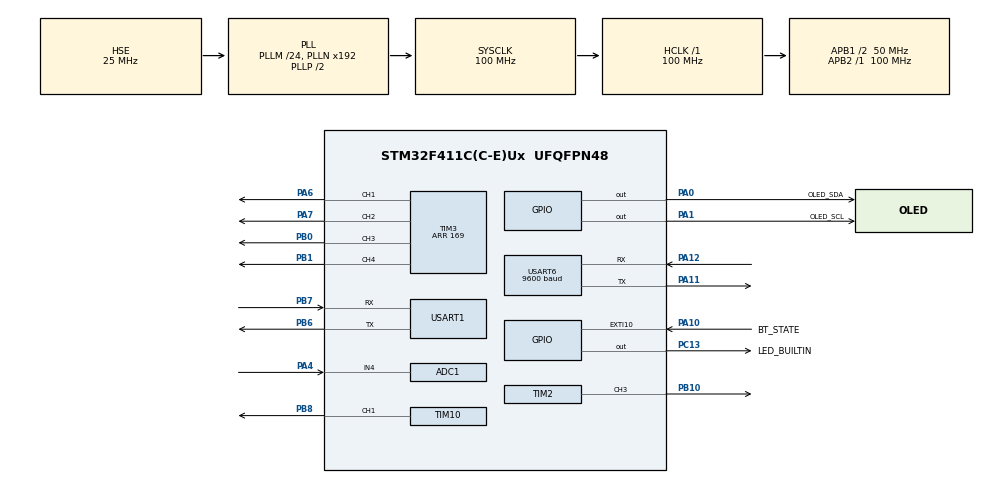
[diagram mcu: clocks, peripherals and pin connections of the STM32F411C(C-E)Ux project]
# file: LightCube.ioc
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ADC1.Channel-0\#ChannelRegularConversion=ADC_CHANNEL_4
ADC1.ContinuousConvMode=DISABLE
ADC1.DMAContinuousRequests=DISABLE
ADC1.DataAlign=ADC_DATAALIGN_RIGHT
ADC1.ExternalTrigConv=ADC_EXTERNALTRIGCONV_T4_CC4
ADC1.NbrOfConversion=1
ADC1.NbrOfConversionFlag=1
ADC1.Rank-0\#ChannelRegularConversion=1
ADC1.SamplingTime-0\#ChannelRegularConversion=ADC_SAMPLETIME_56CYCLES
ADC1.ScanConvMode=DISABLE
ADC1.master=1
Dma.ADC1.7.Direction=DMA_PERIPH_TO_MEMORY
Dma.ADC1.7.FIFOMode=DMA_FIFOMODE_DISABLE
Dma.ADC1.7.Instance=DMA2_Stream4
Dma.ADC1.7.MemDataAlignment=DMA_MDATAALIGN_WORD
Dma.ADC1.7.MemInc=DMA_MINC_ENABLE
Dma.ADC1.7.Mode=DMA_CIRCULAR
Dma.ADC1.7.PeriphDataAlignment=DMA_PDATAALIGN_WORD
Dma.ADC1.7.PeriphInc=DMA_PINC_DISABLE
Dma.ADC1.7.Priority=DMA_PRIORITY_MEDIUM
Dma.Request0=USART1_RX
Dma.Request1=USART6_RX
Dma.Request2=TIM2_CH3/UP
Dma.Request3=TIM3_CH1/TRIG
Dma.Request4=TIM3_CH2
Dma.Request5=TIM3_CH3
Dma.Request6=TIM3_CH4/UP
Dma.Request7=ADC1
Dma.TIM2_CH3/UP.2.Direction=DMA_MEMORY_TO_PERIPH
Dma.TIM2_CH3/UP.2.FIFOMode=DMA_FIFOMODE_DISABLE
Dma.TIM2_CH3/UP.2.Instance=DMA1_Stream1
Dma.TIM2_CH3/UP.2.MemDataAlignment=DMA_MDATAALIGN_WORD
Dma.TIM2_CH3/UP.2.MemInc=DMA_MINC_ENABLE
Dma.TIM2_CH3/UP.2.Mode=DMA_NORMAL
Dma.TIM2_CH3/UP.2.PeriphDataAlignment=DMA_PDATAALIGN_WORD
Dma.TIM2_CH3/UP.2.PeriphInc=DMA_PINC_DISABLE
Dma.TIM2_CH3/UP.2.Priority=DMA_PRIORITY_MEDIUM
Dma.TIM3_CH1/TRIG.3.Direction=DMA_MEMORY_TO_PERIPH
Dma.TIM3_CH1/TRIG.3.FIFOMode=DMA_FIFOMODE_DISABLE
Dma.TIM3_CH1/TRIG.3.Instance=DMA1_Stream4
Dma.TIM3_CH1/TRIG.3.MemDataAlignment=DMA_MDATAALIGN_WORD
Dma.TIM3_CH1/TRIG.3.MemInc=DMA_MINC_ENABLE
Dma.TIM3_CH1/TRIG.3.Mode=DMA_NORMAL
Dma.TIM3_CH1/TRIG.3.PeriphDataAlignment=DMA_PDATAALIGN_WORD
Dma.TIM3_CH1/TRIG.3.PeriphInc=DMA_PINC_DISABLE
Dma.TIM3_CH1/TRIG.3.Priority=DMA_PRIORITY_MEDIUM
Dma.TIM3_CH2.4.Direction=DMA_MEMORY_TO_PERIPH
Dma.TIM3_CH2.4.FIFOMode=DMA_FIFOMODE_DISABLE
Dma.TIM3_CH2.4.Instance=DMA1_Stream5
Dma.TIM3_CH2.4.MemDataAlignment=DMA_MDATAALIGN_WORD
Dma.TIM3_CH2.4.MemInc=DMA_MINC_ENABLE
Dma.TIM3_CH2.4.Mode=DMA_NORMAL
Dma.TIM3_CH2.4.PeriphDataAlignment=DMA_PDATAALIGN_WORD
Dma.TIM3_CH2.4.PeriphInc=DMA_PINC_DISABLE
Dma.TIM3_CH2.4.Priority=DMA_PRIORITY_MEDIUM
Dma.TIM3_CH3.5.Direction=DMA_MEMORY_TO_PERIPH
Dma.TIM3_CH3.5.FIFOMode=DMA_FIFOMODE_DISABLE
Dma.TIM3_CH3.5.Instance=DMA1_Stream7
Dma.TIM3_CH3.5.MemDataAlignment=DMA_MDATAALIGN_WORD
Dma.TIM3_CH3.5.MemInc=DMA_MINC_ENABLE
Dma.TIM3_CH3.5.Mode=DMA_NORMAL
Dma.TIM3_CH3.5.PeriphDataAlignment=DMA_PDATAALIGN_WORD
Dma.TIM3_CH3.5.PeriphInc=DMA_PINC_DISABLE
Dma.TIM3_CH3.5.Priority=DMA_PRIORITY_MEDIUM
Dma.TIM3_CH4/UP.6.Direction=DMA_MEMORY_TO_PERIPH
Dma.TIM3_CH4/UP.6.FIFOMode=DMA_FIFOMODE_DISABLE
Dma.TIM3_CH4/UP.6.Instance=DMA1_Stream2
Dma.TIM3_CH4/UP.6.MemDataAlignment=DMA_MDATAALIGN_WORD
Dma.TIM3_CH4/UP.6.MemInc=DMA_MINC_ENABLE
Dma.TIM3_CH4/UP.6.Mode=DMA_NORMAL
Dma.TIM3_CH4/UP.6.PeriphDataAlignment=DMA_PDATAALIGN_WORD
Dma.TIM3_CH4/UP.6.PeriphInc=DMA_PINC_DISABLE
Dma.TIM3_CH4/UP.6.Priority=DMA_PRIORITY_MEDIUM
Dma.USART1_RX.0.Direction=DMA_PERIPH_TO_MEMORY
Dma.USART1_RX.0.FIFOMode=DMA_FIFOMODE_DISABLE
Dma.USART1_RX.0.Instance=DMA2_Stream2
Dma.USART1_RX.0.MemDataAlignment=DMA_MDATAALIGN_BYTE
Dma.USART1_RX.0.MemInc=DMA_MINC_ENABLE
Dma.USART1_RX.0.Mode=DMA_CIRCULAR
Dma.USART1_RX.0.PeriphDataAlignment=DMA_PDATAALIGN_BYTE
Dma.USART1_RX.0.PeriphInc=DMA_PINC_DISABLE
Dma.USART1_RX.0.Priority=DMA_PRIORITY_LOW
Dma.USART6_RX.1.Direction=DMA_PERIPH_TO_MEMORY
Dma.USART6_RX.1.FIFOMode=DMA_FIFOMODE_DISABLE
Dma.USART6_RX.1.Instance=DMA2_Stream1
Dma.USART6_RX.1.MemDataAlignment=DMA_MDATAALIGN_BYTE
Dma.USART6_RX.1.MemInc=DMA_MINC_ENABLE
Dma.USART6_RX.1.Mode=DMA_CIRCULAR
Dma.USART6_RX.1.PeriphDataAlignment=DMA_PDATAALIGN_BYTE
Dma.USART6_RX.1.PeriphInc=DMA_PINC_DISABLE
Dma.USART6_RX.1.Priority=DMA_PRIORITY_LOW
Mcu.Family=STM32F4
Mcu.Name=STM32F411C(C-E)Ux
Mcu.Package=UFQFPN48
NVIC.ADC_IRQn=true\:0\:0\:false\:false\:true\:true\:true\:true
NVIC.DMA1_Stream1_IRQn=true\:0\:0\:false\:false\:true\:false\:true\:true
NVIC.DMA1_Stream2_IRQn=true\:0\:0\:false\:false\:true\:false\:true\:true
NVIC.DMA1_Stream4_IRQn=true\:0\:0\:false\:false\:true\:false\:true\:true
NVIC.DMA1_Stream5_IRQn=true\:0\:0\:false\:false\:true\:false\:true\:true
NVIC.DMA1_Stream7_IRQn=true\:0\:0\:false\:false\:true\:false\:true\:true
NVIC.DMA2_Stream1_IRQn=true\:0\:0\:false\:false\:true\:false\:true\:true
NVIC.DMA2_Stream2_IRQn=true\:0\:0\:false\:false\:true\:false\:true\:true
NVIC.DMA2_Stream4_IRQn=true\:0\:0\:false\:false\:true\:false\:true\:true
NVIC.EXTI15_10_IRQn=true\:0\:0\:false\:false\:true\:true\:true\:true
NVIC.PriorityGroup=NVIC_PRIORITYGROUP_4
NVIC.TIM2_IRQn=true\:0\:0\:false\:false\:true\:true\:true\:true
NVIC.TIM3_IRQn=true\:0\:0\:false\:false\:true\:true\:true\:true
NVIC.USART1_IRQn=true\:0\:0\:false\:false\:true\:true\:true\:true
NVIC.USART6_IRQn=true\:0\:0\:false\:false\:true\:true\:true\:true
PA0-WKUP.GPIO_Label=OLED_SDA
PA0-WKUP.GPIO_ModeDefaultOutputPP=GPIO_MODE_OUTPUT_OD
PA0-WKUP.GPIO_PuPd=GPIO_PULLUP
PA0-WKUP.GPIO_Speed=GPIO_SPEED_FREQ_VERY_HIGH
PA0-WKUP.PinState=GPIO_PIN_SET
PA0-WKUP.Signal=GPIO_Output
PA1.GPIO_Label=OLED_SCL
PA1.GPIO_Speed=GPIO_SPEED_FREQ_VERY_HIGH
PA1.PinState=GPIO_PIN_SET
PA1.Signal=GPIO_Output
PA10.GPIO_Label=BT_STATE
PA10.GPIO_ModeDefaultEXTI=GPIO_MODE_IT_RISING_FALLING
PA10.Signal=GPXTI10
PA11.Mode=Asynchronous
PA11.Signal=USART6_TX
PA12.Mode=Asynchronous
PA12.Signal=USART6_RX
PA13.Mode=Serial_Wire
PA13.Signal=SYS_JTMS-SWDIO
PA14.Mode=Serial_Wire
PA14.Signal=SYS_JTCK-SWCLK
PA4.Signal=ADCx_IN4
PA6.GPIO_PuPd=GPIO_PULLDOWN
PA6.GPIO_Speed=GPIO_SPEED_FREQ_VERY_HIGH
PA6.Signal=S_TIM3_CH1
PA7.GPIO_PuPd=GPIO_PULLDOWN
PA7.GPIO_Speed=GPIO_SPEED_FREQ_VERY_HIGH
PA7.Signal=S_TIM3_CH2
PB0.GPIO_PuPd=GPIO_PULLDOWN
PB0.GPIO_Speed=GPIO_SPEED_FREQ_VERY_HIGH
PB0.Signal=S_TIM3_CH3
PB1.GPIO_PuPd=GPIO_PULLDOWN
PB1.GPIO_Speed=GPIO_SPEED_FREQ_VERY_HIGH
PB1.Signal=S_TIM3_CH4
PB10.GPIO_PuPd=GPIO_PULLDOWN
PB10.GPIO_Speed=GPIO_SPEED_FREQ_VERY_HIGH
PB10.Signal=S_TIM2_CH3
PB6.Mode=Asynchronous
PB6.Signal=USART1_TX
PB7.Mode=Asynchronous
PB7.Signal=USART1_RX
PB8.GPIO_PuPd=GPIO_PULLDOWN
PB8.GPIO_Speed=GPIO_SPEED_FREQ_VERY_HIGH
PB8.Signal=S_TIM10_CH1
PC13-ANTI_TAMP.GPIO_Label=LED_BUILTIN
PC13-ANTI_TAMP.GPIO_Speed=GPIO_SPEED_FREQ_LOW
PC13-ANTI_TAMP.PinState=GPIO_PIN_SET
PC13-ANTI_TAMP.Signal=GPIO_Output
PC14-OSC32_IN.Mode=LSE-External-Oscillator
PC14-OSC32_IN.Signal=RCC_OSC32_IN
PC15-OSC32_OUT.Mode=LSE-External-Oscillator
PC15-OSC32_OUT.Signal=RCC_OSC32_OUT
PH0\ -\ OSC_IN.Mode=HSE-External-Oscillator
PH0\ -\ OSC_IN.Signal=RCC_OSC_IN
PH1\ -\ OSC_OUT.Mode=HSE-External-Oscillator
PH1\ -\ OSC_OUT.Signal=RCC_OSC_OUT
ProjectManager.HeapSize=0x200
ProjectManager.StackSize=0x400
ProjectManager.TargetToolchain=STM32CubeIDE
RCC.48MHZClocksFreq_Value=50000000
RCC.AHBFreq_Value=100000000
RCC.APB1CLKDivider=RCC_HCLK_DIV2
RCC.APB1Freq_Value=50000000
RCC.APB1TimFreq_Value=100000000
RCC.APB2Freq_Value=100000000
RCC.APB2TimFreq_Value=100000000
RCC.CortexFreq_Value=100000000
RCC.HCLKFreq_Value=100000000
RCC.HSE_VALUE=25000000
RCC.HSI_VALUE=16000000
RCC.PLLM=24
RCC.PLLSourceVirtual=RCC_PLLSOURCE_HSE
RCC.SYSCLKFreq_VALUE=100000000
RCC.SYSCLKSource=RCC_SYSCLKSOURCE_PLLCLK
RCC.VCOOutputFreq_Value=200000000
SH.ADCx_IN4.0=ADC1_IN4,IN4
SH.S_TIM10_CH1.0=TIM10_CH1,PWM Generation1 CH1
SH.S_TIM2_CH3.0=TIM2_CH3,PWM Generation3 CH3
SH.S_TIM3_CH1.0=TIM3_CH1,PWM Generation1 CH1
SH.S_TIM3_CH2.0=TIM3_CH2,PWM Generation2 CH2
SH.S_TIM3_CH3.0=TIM3_CH3,PWM Generation3 CH3
SH.S_TIM3_CH4.0=TIM3_CH4,PWM Generation4 CH4
TIM10.AutoReloadPreload=TIM_AUTORELOAD_PRELOAD_ENABLE
TIM10.Channel=TIM_CHANNEL_1
TIM10.Period=9999
TIM10.Prescaler=9
TIM2.Channel-PWM\ Generation3\ CH3=TIM_CHANNEL_3
TIM2.OCMode_PWM-PWM\ Generation3\ CH3=TIM_OCMODE_PWM1
TIM2.Period=169
TIM3.Channel-PWM\ Generation1\ CH1=TIM_CHANNEL_1
TIM3.Channel-PWM\ Generation2\ CH2=TIM_CHANNEL_2
TIM3.Channel-PWM\ Generation3\ CH3=TIM_CHANNEL_3
TIM3.Channel-PWM\ Generation4\ CH4=TIM_CHANNEL_4
TIM3.Period=169
TIM4.Channel-PWM\ Generation4\ No\ Output=TIM_CHANNEL_4
TIM4.Period=99
TIM4.Prescaler=99
TIM4.Pulse-PWM\ Generation4\ No\ Output=50
USART1.VirtualMode=VM_ASYNC
USART6.BaudRate=9600
USART6.VirtualMode=VM_ASYNC
VP_TIM10_VS_ClockSourceINT.Mode=Enable_Timer
VP_TIM2_VS_ClockSourceINT.Mode=Internal
VP_TIM3_VS_ClockSourceINT.Mode=Internal
VP_TIM4_VS_no_output4.Mode=PWM Generation4 No Output
board=custom

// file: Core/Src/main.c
/* USER CODE BEGIN Header */
/**
  ******************************************************************************
  * @file           : main.c
  * @brief          : Main program body
  ******************************************************************************
  * @attention
  *
  * Copyright (c) 2022 STMicroelectronics.
  * All rights reserved.
  *
  * This software is licensed under terms that can be found in the LICENSE file
  * in the root directory of this software component.
  * If no LICENSE file comes with this software, it is provided AS-IS.
  *
  ******************************************************************************
  */
/* USER CODE END Header */
#include "main.h"
#include "adc.h"
#include "dma.h"
#include "tim.h"
#include "usart.h"
#include "gpio.h"

/* USER CODE BEGIN Includes */
#include "../../User_Drivers/USART/retarget.h"
#include "../../User_Drivers/USART/uart_callback.h"
#include "../../User_Drivers/Delay/delay.h"
#include "../../User_Drivers/Bluetooth/bluetooth.h"
#include "../../User_Drivers/OLED/oled.h"
#include "../../User_Drivers/WS2812/ws2812.h"
#include "../../User_Drivers/WS2812/animation.h"
#include "../../User_Drivers/Utils/utils.h"
#include "../../User_Drivers/Snake/snake.h"
/* USER CODE END Includes */

/* USER CODE BEGIN PD */
#define DEFAULT_ANIM_TIMES 5
/* USER CODE END PD */

/* USER CODE BEGIN PV */
uint8_t btConnected = 0;
uint8_t btStateChanged = 0;
uint8_t timer60_count = 0; // will be used in SysTick_Handler() in f4xx_it.c
uint8_t timer60 = 0; // Triggered (be set to 1) every 60 ticks
uint8_t timer15_count = 0; // will be used in SysTick_Handler() in f4xx_it.c
uint8_t timer15 = 0; // Triggered (be set to 1) every 15 ticks
uint8_t timer5_count = 0;
uint8_t timer5 = 0; // Triggered (be set to 1) every 5 ticks
uint8_t currentMode = 0;
uint8_t modeChanged = 0;
uint8_t dotPos[3] = {1, 1, 1};
uint8_t pwmDuty = 0;
uint8_t brightness = 0;
/* USER CODE END PV */

void SystemClock_Config(void);

/* USER CODE BEGIN 0 */
void updateOLED(){
	if(modeChanged){
//		OLED_Clear();
		if(currentMode != 6 || currentMode != 8 || currentMode != 1 || currentMode != 9) OLED_printf(0,45,BIG_FONT,"                ");
		OLED_printf(28,0,BIG_FONT,"LightCube");
		if(btConnected) OLED_printf(120,0,BIG_FONT, "B");
		else OLED_printf(120,0,BIG_FONT, " ");
		switch(currentMode){
		case 0:
			OLED_printf(0,25,BIG_FONT,"                ");
			break;
		case 1:
			OLED_printf(0,25,BIG_FONT,"Mode: Single    ");
			OLED_printf(0,45,BIG_FONT,"Bright.: %d%%",brightness);
			break;
		case 2:
			OLED_printf(0,25,BIG_FONT,"Mode: All       ");
			break;
		case 3:
			OLED_printf(0,25,BIG_FONT,"Mode: Breathe   ");
			break;
		case 4:
			OLED_printf(0,25,BIG_FONT,"Mode: Gradient  ");
			break;
		case 5:
			OLED_printf(0,25,BIG_FONT,"Mode: Number    ");
			break;
		case 6:
			OLED_printf(0,25,BIG_FONT,"Mode: Dot       ");
			OLED_printf(0,45,BIG_FONT,"(%d, %d, %d)",dotPos[0],dotPos[1],dotPos[2]);
			break;
		case 7:
			OLED_printf(0,25,BIG_FONT,"Mode: Animation ");
			break;
		case 8:
			OLED_printf(0,25,BIG_FONT,"Mode: PWM Output"); // 1KHz
			OLED_printf(0,45,BIG_FONT,"Duty: %d%% @1KHz",pwmDuty);
			break;
		case 9:
			OLED_printf(0,25,BIG_FONT,"Mode: PWM Wave  "); // 1KHz
			OLED_printf(0,45,BIG_FONT,"Duty: Dynamic",pwmDuty);
			break;
		case 10:
			OLED_printf(0,25,BIG_FONT,"Mode: Snake Game");
			break;
		default: break;
		}
		OLED_RefreshGram();
		modeChanged = 0;
	}
	if(btStateChanged){
		if(btConnected) OLED_printf(120,0,BIG_FONT, "B");
		else OLED_printf(120,0,BIG_FONT, " ");
		OLED_RefreshGram();
		btStateChanged = 0;
	}
}
/* USER CODE END 0 */

int main(void)
{
  /* USER CODE BEGIN 1 */
//  uint16_t UART1_COMMAND_BUF[200] = {0};
//  uint8_t UART1_COMMAND_LEN = 0;
  uint16_t UART6_COMMAND_BUF[200] = {0};
  uint8_t UART6_COMMAND_LEN = 0;
  uint16_t DMA_ADC_BUF = 0; // Microphone ADC
  uint8_t dotRGB[3] = {255, 255, 255};
  uint16_t dotGradientTemp = 1;
  uint8_t dotShown = 0;
  /* USER CODE END 1 */

  /* MCU Configuration--------------------------------------------------------*/

  /* Reset of all peripherals, Initializes the Flash interface and the Systick. */
  HAL_Init();

  /* Configure the system clock */
  SystemClock_Config();

  /* Initialize all configured peripherals */
  MX_GPIO_Init();
  MX_DMA_Init();
  MX_TIM2_Init();
  MX_TIM3_Init();
  MX_USART1_UART_Init();
  MX_USART6_UART_Init();
  MX_ADC1_Init();
  MX_TIM4_Init();
  MX_TIM10_Init();
  /* USER CODE BEGIN 2 */
  UART_RetargetInit(&huart1);
  UART1_SetCallback();
  UART6_SetCallback();
  OLED_Init();
  OLED_printf(28,0,BIG_FONT,"LightCube");
  OLED_RefreshGram();
  LED_Update();
//  HAL_ADC_Start_DMA(&hadc1, (uint32_t*)&DMA_ADC_BUF, 1);
  HAL_TIM_PWM_Start(&htim10, TIM_CHANNEL_1);
  __HAL_TIM_SET_COMPARE(&htim10, TIM_CHANNEL_1, pwmDuty * 100);
//  LED_Anim_Countdown(1);
  if(!HAL_GPIO_ReadPin(BT_STATE_GPIO_Port, BT_STATE_Pin)){
	  btStateChanged = 1;
	  btConnected = 1;
  }
  /* USER CODE END 2 */

  /* Infinite loop */
  /* USER CODE BEGIN WHILE */
  while (1)
  {
	updateOLED();
	if(timer15){
		if(dotShown){
			if(dotGradientTemp>=359) dotGradientTemp = 1;
			else dotGradientTemp++;
			dotRGB[0] = gradientR[dotGradientTemp];
			dotRGB[1] = gradientG[dotGradientTemp];
			dotRGB[2] = gradientB[dotGradientTemp];
			LED_SetColor(dotPos[0],dotPos[1],dotPos[2],dotRGB[0],dotRGB[1],dotRGB[2]);
			LED_Update();
	//		hsv_to_rgb(dotGradientTemp, 100, 100, &dotRGB[0], &dotRGB[1], &dotRGB[2]);
		}
		timer15 = 0;
	}
	if(timer5){
		if(timer_game_count == GAME_SPEED/5 - 1){
			timer_game_count = 0;
			timer_game = 1;
		}else timer_game_count++;
		if(currentMode == 9){
//			modeChanged = 1;
			if(pwmDuty>99) pwmDuty = 0;
			else pwmDuty++;
//			updateOLED();
			__HAL_TIM_SET_COMPARE(&htim10, TIM_CHANNEL_1, pwmDuty * 100);
		}
		timer5 = 0;
	}
	if(timer_game){
		if(currentMode == 10) {
			snakeUpdate();
			if(snake_game_state != 1) {
				currentMode = 0;
				modeChanged = 1;
				snake_dir_control = 0;
				snakeDelete();
			}
		}
		timer_game = 0;
	}
	if(UART6_Available()){
		switch(UART6_Read(0)){
		case 'w':
			splitData(UART6_GetBufferPtr(), UART6_ReceivedLength(), UART6_COMMAND_BUF, &UART6_COMMAND_LEN, ' ');
			switch(UART6_COMMAND_LEN){
			case 0:
				currentMode = 9;
				modeChanged = 1;
				pwmDuty = 0;
				BT_printf("Set PWM output at 0-100%% wave\n");
				updateOLED();
				__HAL_TIM_SET_COMPARE(&htim10, TIM_CHANNEL_1, pwmDuty * 100);
				break;
			case 1:
				currentMode = 8;
				modeChanged = 1;
				pwmDuty = UART6_COMMAND_BUF[0];
				if(pwmDuty>100) pwmDuty = 100;
				BT_printf("Set PWM output at %d %% duty\n", pwmDuty);
				updateOLED();
				__HAL_TIM_SET_COMPARE(&htim10, TIM_CHANNEL_1, pwmDuty * 100);
				break;
			default: BT_printf("Wrong arguments!\n"); break;
			}
			break;
		case 'c':
			splitData(UART6_GetBufferPtr(), UART6_ReceivedLength(), UART6_COMMAND_BUF, &UART6_COMMAND_LEN, ' ');
			switch(UART6_COMMAND_LEN){
			case 3:
				modeChanged = 1;
				currentMode = 1;
				BT_printf("Set LED (%d, %d, %d) to WHITE at 100 %% Brightness\n", UART6_COMMAND_BUF[0],UART6_COMMAND_BUF[1],UART6_COMMAND_BUF[2]);
				brightness = 100;
				updateOLED();
				LED_SetColor(UART6_COMMAND_BUF[0],UART6_COMMAND_BUF[1],UART6_COMMAND_BUF[2],255,255,255);
				LED_Update();
				break;
			case 4:
				modeChanged = 1;
				currentMode = 1;
				BT_printf("Set LED (%d, %d, %d) to WHITE at %d %% Brightness\n", UART6_COMMAND_BUF[0],UART6_COMMAND_BUF[1],UART6_COMMAND_BUF[2],UART6_COMMAND_BUF[3]);
				brightness = UART6_COMMAND_BUF[3];
				uint8_t tempR,tempG,tempB;
				getRGBWithBrightness(255,255,255,brightness,&tempR,&tempG,&tempB);
				updateOLED();
				LED_SetColor(UART6_COMMAND_BUF[0],UART6_COMMAND_BUF[1],UART6_COMMAND_BUF[2],tempR,tempG,tempB);
				LED_Update();
				break;
			case 6:
				modeChanged = 1;
				currentMode = 1;
				BT_printf("Set LED (%d, %d, %d) to (%d, %d, %d)\n", UART6_COMMAND_BUF[0],UART6_COMMAND_BUF[1],UART6_COMMAND_BUF[2],UART6_COMMAND_BUF[3],UART6_COMMAND_BUF[4],UART6_COMMAND_BUF[5]);
				updateOLED();
				LED_SetColor(UART6_COMMAND_BUF[0],UART6_COMMAND_BUF[1],UART6_COMMAND_BUF[2],UART6_COMMAND_BUF[3],UART6_COMMAND_BUF[4],UART6_COMMAND_BUF[5]);
				LED_Update();
				break;
			default: BT_printf("Wrong arguments!\n"); break;
			}
			break;
		case 'r':
			pwmDuty = 0;
			__HAL_TIM_SET_COMPARE(&htim10, TIM_CHANNEL_1, pwmDuty * 100);
			dotShown = 0;
			currentMode = 0;
			modeChanged = 1;
			BT_printf("Resetting all LEDs...\n");
			updateOLED();
//			LED_SetBrightness(DEFAULT_BRIGHTNESS);
			LED_ResetAll();
			snakeDelete();
			LED_Update();
			break;
		case 'a':
			splitData(UART6_GetBufferPtr(), UART6_ReceivedLength(), UART6_COMMAND_BUF, &UART6_COMMAND_LEN, ' ');
			switch(UART6_COMMAND_LEN){
			case 3:
				currentMode = 2;
				modeChanged = 1;
				BT_printf("Set all LED to (%d, %d, %d)\n", UART6_COMMAND_BUF[0],UART6_COMMAND_BUF[1],UART6_COMMAND_BUF[2]);
				updateOLED();
				LED_SetColorAll(UART6_COMMAND_BUF[0],UART6_COMMAND_BUF[1],UART6_COMMAND_BUF[2]);
				LED_Update();
				break;
			default: BT_printf("Wrong arguments!\n"); break;
			}
			break;
		case 'b':
			splitData(UART6_GetBufferPtr(), UART6_ReceivedLength(), UART6_COMMAND_BUF, &UART6_COMMAND_LEN, ' ');
			switch(UART6_COMMAND_LEN){
			case 3:
				currentMode = 3;
				modeChanged = 1;
				BT_printf("Breathing LED (%d, %d, %d)...\n", UART6_COMMAND_BUF[0],UART6_COMMAND_BUF[1],UART6_COMMAND_BUF[2]);
				updateOLED();
				LED_BreatheOnePixel(UART6_COMMAND_BUF[0],UART6_COMMAND_BUF[1],UART6_COMMAND_BUF[2],350,25,1);
				currentMode = 0;
				modeChanged = 1;
				updateOLED();
				break;
			case 5:
				currentMode = 3;
				modeChanged = 1;
				BT_printf("Breathing LED (%d, %d, %d) with H: %d, S: %d...\n", UART6_COMMAND_BUF[0],UART6_COMMAND_BUF[1],UART6_COMMAND_BUF[2],UART6_COMMAND_BUF[3],UART6_COMMAND_BUF[4]);
				updateOLED();
				LED_BreatheOnePixel(UART6_COMMAND_BUF[0],UART6_COMMAND_BUF[1],UART6_COMMAND_BUF[2],UART6_COMMAND_BUF[3],UART6_COMMAND_BUF[4],1);
				currentMode = 0;
				modeChanged = 1;
				updateOLED();
				break;
			case 6:
				currentMode = 3;
				modeChanged = 1;
				BT_printf("Breathing LED (%d, %d, %d) with H: %d, S: %d for %d time(s)...\n", UART6_COMMAND_BUF[0],UART6_COMMAND_BUF[1],UART6_COMMAND_BUF[2],UART6_COMMAND_BUF[3],UART6_COMMAND_BUF[4],UART6_COMMAND_BUF[5]);
				updateOLED();
				LED_BreatheOnePixel(UART6_COMMAND_BUF[0],UART6_COMMAND_BUF[1],UART6_COMMAND_BUF[2],UART6_COMMAND_BUF[3],UART6_COMMAND_BUF[4],UART6_COMMAND_BUF[5]);
				currentMode = 0;
				modeChanged = 1;
				updateOLED();
				break;
			case 9:
				currentMode = 3;
				modeChanged = 1;
				BT_printf("Breathing LEDs from (%d, %d, %d) to (%d, %d, %d) with H: %d, S: %d for %d time(s)...\n", UART6_COMMAND_BUF[0],UART6_COMMAND_BUF[1],UART6_COMMAND_BUF[2],UART6_COMMAND_BUF[3],UART6_COMMAND_BUF[4],UART6_COMMAND_BUF[5],UART6_COMMAND_BUF[6],UART6_COMMAND_BUF[7],UART6_COMMAND_BUF[8]);
				updateOLED();
				LED_BreatheBatch(UART6_COMMAND_BUF[0],UART6_COMMAND_BUF[1],UART6_COMMAND_BUF[2],UART6_COMMAND_BUF[3],UART6_COMMAND_BUF[4],UART6_COMMAND_BUF[5],UART6_COMMAND_BUF[6],UART6_COMMAND_BUF[7],UART6_COMMAND_BUF[8]);
				currentMode = 0;
				modeChanged = 1;
				updateOLED();
				break;
			default: BT_printf("Wrong arguments!\n"); break;
			}
			break;
		case 'g':
			splitData(UART6_GetBufferPtr(), UART6_ReceivedLength(), UART6_COMMAND_BUF, &UART6_COMMAND_LEN, ' ');
			switch(UART6_COMMAND_LEN){
			case 3:
				currentMode = 4;
				modeChanged = 1;
				BT_printf("Gradient LED (%d, %d, %d)...\n", UART6_COMMAND_BUF[0],UART6_COMMAND_BUF[1],UART6_COMMAND_BUF[2]);
				updateOLED();
				LED_GradientOnePixel(UART6_COMMAND_BUF[0],UART6_COMMAND_BUF[1],UART6_COMMAND_BUF[2]);
				currentMode = 0;
				modeChanged = 1;
				updateOLED();
				break;
			case 6:
				currentMode = 4;
				modeChanged = 1;
				BT_printf("Gradient LEDs from (%d, %d, %d) to (%d, %d, %d)...\n", UART6_COMMAND_BUF[0],UART6_COMMAND_BUF[1],UART6_COMMAND_BUF[2],UART6_COMMAND_BUF[3],UART6_COMMAND_BUF[4],UART6_COMMAND_BUF[5]);
				updateOLED();
				LED_GradientBatch(UART6_COMMAND_BUF[0],UART6_COMMAND_BUF[1],UART6_COMMAND_BUF[2],UART6_COMMAND_BUF[3],UART6_COMMAND_BUF[4],UART6_COMMAND_BUF[5]);
				currentMode = 0;
				modeChanged = 1;
				updateOLED();
				break;
			default: BT_printf("Wrong arguments!\n"); break;
			}
			break;
		case 'n':
			splitData(UART6_GetBufferPtr(), UART6_ReceivedLength(), UART6_COMMAND_BUF, &UART6_COMMAND_LEN, ' ');
			LED_ResetAll();
			switch(UART6_COMMAND_LEN){
			case 3:
				currentMode = 5;
				modeChanged = 1;
				BT_printf("Presenting number %d at #%d face, #%d layer\n", UART6_COMMAND_BUF[0], UART6_COMMAND_BUF[1], UART6_COMMAND_BUF[2]);
				updateOLED();
				LED_Anim_ShowNumber(UART6_COMMAND_BUF[0], UART6_COMMAND_BUF[1], UART6_COMMAND_BUF[2], COLOR_WHITE);
				currentMode = 0;
				modeChanged = 1;
				updateOLED();
				break;
			default: BT_printf("Wrong arguments!\n"); break;
			}
			break;
		case 'W':
			if(currentMode == 10) {
				snake_dir_control = SNAKE_DIR_FRONT;
				timer_game_count = 0; // reset the timer
				snakeUpdate();
			}
			else{
				LED_ResetAll();
				dotShown = 1;
				currentMode = 6;
				modeChanged = 1;
				if(dotPos[1]<5) BT_printf("Moving to (%d, %d, %d)\n",dotPos[0],++dotPos[1],dotPos[2]);
				else BT_printf("Y coordinate reached boundary!\n");
				updateOLED();
				LED_SetColor(dotPos[0],dotPos[1],dotPos[2],dotRGB[0],dotRGB[1],dotRGB[2]);
				LED_Update();
			}
			break;
		case 'S':
			if(currentMode == 10) {
				snake_dir_control = SNAKE_DIR_BACK;
				timer_game_count = 0; // reset the timer
				snakeUpdate();
			}
			else{
				LED_ResetAll();
				dotShown = 1;
				currentMode = 6;
				modeChanged = 1;
				if(dotPos[1]>1) BT_printf("Moving to (%d, %d, %d)\n",dotPos[0],--dotPos[1],dotPos[2]);
				else BT_printf("Y coordinate reached boundary!\n");
				updateOLED();
				LED_SetColor(dotPos[0],dotPos[1],dotPos[2],dotRGB[0],dotRGB[1],dotRGB[2]);
				LED_Update();
			}
			break;
		case 'A':
			if(currentMode == 10) {
				snake_dir_control = SNAKE_DIR_LEFT;
				timer_game_count = 0; // reset the timer
				snakeUpdate();
			}
			else{
				LED_ResetAll();
				dotShown = 1;
				currentMode = 6;
				modeChanged = 1;
				if(dotPos[0]>1) BT_printf("Moving to (%d, %d, %d)\n",--dotPos[0],dotPos[1],dotPos[2]);
				else BT_printf("X coordinate reached boundary!\n");
				updateOLED();
				LED_SetColor(dotPos[0],dotPos[1],dotPos[2],dotRGB[0],dotRGB[1],dotRGB[2]);
				LED_Update();
			}
			break;
		case 'D':
			if(currentMode == 10) {
				snake_dir_control = SNAKE_DIR_RIGHT;
				timer_game_count = 0; // reset the timer
				snakeUpdate();
			}
			else{
				LED_ResetAll();
				dotShown = 1;
				currentMode = 6;
				modeChanged = 1;
				if(dotPos[0]<5) BT_printf("Moving to (%d, %d, %d)\n",++dotPos[0],dotPos[1],dotPos[2]);
				else BT_printf("X coordinate reached boundary!\n");
				updateOLED();
				LED_SetColor(dotPos[0],dotPos[1],dotPos[2],dotRGB[0],dotRGB[1],dotRGB[2]);
				LED_Update();
			}
			break;
		case 'Q':
			if(currentMode == 10) {
				snake_dir_control = SNAKE_DIR_UP;
				timer_game_count = 0; // reset the timer
				snakeUpdate();
			}
			else{
				LED_ResetAll();
				dotShown = 1;
				currentMode = 6;
				modeChanged = 1;
				if(dotPos[2]<5) BT_printf("Moving to (%d, %d, %d)\n",dotPos[0],dotPos[1],++dotPos[2]);
				else BT_printf("Z coordinate reached boundary!\n");
				updateOLED();
				LED_SetColor(dotPos[0],dotPos[1],dotPos[2],dotRGB[0],dotRGB[1],dotRGB[2]);
				LED_Update();
			}
			break;
		case 'E':
			if(currentMode == 10) {
				snake_dir_control = SNAKE_DIR_DOWN;
				timer_game_count = 0; // reset the timer
				snakeUpdate();
			}
			else{
				LED_ResetAll();
				dotShown = 1;
				currentMode = 6;
				modeChanged = 1;
				if(dotPos[2]>1) BT_printf("Moving to (%d, %d, %d)\n",dotPos[0],dotPos[1],--dotPos[2]);
				else BT_printf("Z coordinate reached boundary!\n");
				updateOLED();
				LED_SetColor(dotPos[0],dotPos[1],dotPos[2],dotRGB[0],dotRGB[1],dotRGB[2]);
				LED_Update();
			}
			break;
//		case 'l':
//			splitData(UART6_GetBufferPtr(), UART6_ReceivedLength(), UART6_COMMAND_BUF, &UART6_COMMAND_LEN, ' ');
//			if(UART6_COMMAND_LEN==1){
//				BT_printf("LED brightness has been set to %d %%\n",UART6_COMMAND_BUF[0]);
//				LED_SetBrightness(UART6_COMMAND_BUF[0]);
//				brightness = UART6_COMMAND_BUF[0];
//			} else BT_printf("Wrong arguments!\n");
//			break;
		case 'p':
			splitData(UART6_GetBufferPtr(), UART6_ReceivedLength(), UART6_COMMAND_BUF, &UART6_COMMAND_LEN, ' ');
			if(UART6_COMMAND_LEN==1||UART6_COMMAND_LEN==2){
				currentMode = 7;
				modeChanged = 1;
				updateOLED();
				uint8_t times = UART6_COMMAND_LEN==2?UART6_COMMAND_BUF[1]:DEFAULT_ANIM_TIMES;
				BT_printf("Presenting #%d anim for %d times..\n",UART6_COMMAND_BUF[0],times);
				switch(UART6_COMMAND_BUF[0]){
				case 1:
					LED_Anim_GradientLayer(times);
					break;
				case 2:
					LED_Anim_FlashLayer(times);
					break;
				case 3:
					LED_Anim_Heart(times);
					break;
				case 4:
					LED_Anim_Rain(times);
					break;
				case 5:
					LED_Anim_CycleOnOff(times);
					break;
				case 6:
					LED_Anim_RainbowWave(times);
					break;
				case 7:
					LED_Anim_Countdown(times);
					break;
				case 8:
					LED_Anim_Snake(times);
					break;
				default: BT_printf("Wrong arguments!\n"); break;
				}
				currentMode = 0;
				modeChanged = 1;
				updateOLED();
				LED_ResetAll();
				LED_Update();
			}
			else BT_printf("Wrong arguments!\n");
			break;
		case 's':
			currentMode = 10;
			modeChanged = 1;
			snake_game_state = 1;
			BT_printf("Entering Snake Game...\n");
			updateOLED();
			LED_ResetAll();
			snakeInit();
			break;
		default:
			BT_printf("UART6 Received: ");
			for(uint8_t i=0;i<UART6_ReceivedLength();i++) {
				BT_printf("%c",UART6_Read(i));
			}
			break;
		}
	  	UART6_Clear();
	}
	if(btStateChanged){
		if(btConnected) printf("Bluetooth connected.\n");
		else printf("Bluetooth disconnected.\n");
		updateOLED();
		btStateChanged = 0;
	}
    /* USER CODE END WHILE */

  }
}

void SystemClock_Config(void)
{
  RCC_OscInitTypeDef RCC_OscInitStruct = {0};
  RCC_ClkInitTypeDef RCC_ClkInitStruct = {0};

  /** Configure the main internal regulator output voltage
  */
  __HAL_RCC_PWR_CLK_ENABLE();
  __HAL_PWR_VOLTAGESCALING_CONFIG(PWR_REGULATOR_VOLTAGE_SCALE1);

  /** Initializes the RCC Oscillators according to the specified parameters
  * in the RCC_OscInitTypeDef structure.
  */
  RCC_OscInitStruct.OscillatorType = RCC_OSCILLATORTYPE_HSE;
  RCC_OscInitStruct.HSEState = RCC_HSE_ON;
  RCC_OscInitStruct.PLL.PLLState = RCC_PLL_ON;
  RCC_OscInitStruct.PLL.PLLSource = RCC_PLLSOURCE_HSE;
  RCC_OscInitStruct.PLL.PLLM = 24;
  RCC_OscInitStruct.PLL.PLLN = 192;
  RCC_OscInitStruct.PLL.PLLP = RCC_PLLP_DIV2;
  RCC_OscInitStruct.PLL.PLLQ = 4;
  if (HAL_RCC_OscConfig(&RCC_OscInitStruct) != HAL_OK)
  {
    Error_Handler();
  }

  /** Initializes the CPU, AHB and APB buses clocks
  */
  RCC_ClkInitStruct.ClockType = RCC_CLOCKTYPE_HCLK|RCC_CLOCKTYPE_SYSCLK
                              |RCC_CLOCKTYPE_PCLK1|RCC_CLOCKTYPE_PCLK2;
  RCC_ClkInitStruct.SYSCLKSource = RCC_SYSCLKSOURCE_PLLCLK;
  RCC_ClkInitStruct.AHBCLKDivider = RCC_SYSCLK_DIV1;
  RCC_ClkInitStruct.APB1CLKDivider = RCC_HCLK_DIV2;
  RCC_ClkInitStruct.APB2CLKDivider = RCC_HCLK_DIV1;

  if (HAL_RCC_ClockConfig(&RCC_ClkInitStruct, FLASH_LATENCY_3) != HAL_OK)
  {
    Error_Handler();
  }
}

/* USER CODE BEGIN 4 */
void HAL_GPIO_EXTI_Callback(uint16_t GPIO_Pin)
{
	switch(GPIO_Pin){
	case BT_STATE_Pin:
		btConnected = !HAL_GPIO_ReadPin(BT_STATE_GPIO_Port, BT_STATE_Pin);
		btStateChanged = 1;
		break;
	default: break;
	}
}
/* USER CODE END 4 */

void Error_Handler(void)
{
  __disable_irq();
  while (1)
  {
  }
}
